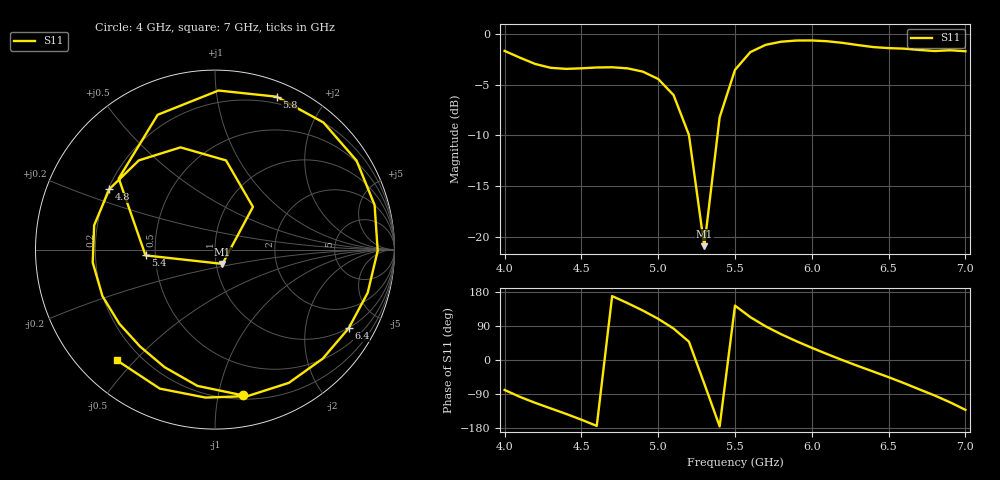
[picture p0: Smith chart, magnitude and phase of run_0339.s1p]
! Touchstone file exported from HFSS 2024.2.0
!  File:  C:/Users/wsak9/Desktop/Sim Fast/Widenad Patch/WP_AI_V1_sweep.aedt
!  Generated:  05:22:55 AM Oct 14, 2026
!  Design:  A1_model
!  Project:  WP_AI_V1_sweep
!  Setup:  Setup1
!  Solution:  Sweep
! Variables:
!  Air_gap = 3.35mm
!  Curve_Amp1 = 1.58
!  Curve_len1 = 1
!  Curve_pos = 11.685mm
!  Extra = 4.62mm
!  H_sub = 0.79mm
!  L_Patch = 19.37mm
!  L_Patch1 = 21.34mm
!  Sx = 1.36mm
!  Sy = 3.67mm
!  WS = 1.35mm
!  W_Patch = 22.39mm
!  W_Patch1 = 16.72mm
!Data is not renormalized
# GHz S MA
! Terminal data exported
! Port[1] = 1
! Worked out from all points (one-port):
!   31 points, 4 GHz to 7 GHz, reference per port
!   lowest |S11| = -20.9 dB at 5.3 GHz (marker M1), VSWR 1.20
!   |S11| at or under -10 dB: 5.201 GHz to 5.386 GHz (185.4 MHz wide, 3.5 % of centre)
!   S11 on the Smith chart (normalised r, x): 4 GHz: 0.23, -1.19; 4.8 GHz: 0.20, +0.26; 5.4 GHz: 0.44, -0.03; 5.8 GHz: 0.14, +1.47; 6.4 GHz: 0.98, -3.40; 7 GHz: 0.12, -0.45
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4  0.8273 -79.1
4.1  0.7657 -97.3
4.2  0.7127 -113.2
4.4  0.6743 -142.2
4.6  0.6851 -174.0
4.7  0.6868 168.6
4.8  0.6784 150.2
4.9  0.6535 130.5
5  0.6011 108.6
5.1  0.5007 83.0
5.2  0.3183 48.4
5.3  0.08979 -62.4
5.4  0.3885 -175.2
5.5  0.6669 143.5
5.6  0.8162 113.0
5.7  0.8865 88.7
5.8  0.9184 68.1
5.9  0.9309 49.5
6  0.9316 32.2
6.1  0.9233 15.6
6.2  0.9065 -0.4
6.3  0.8841 -15.8
6.4  0.8641 -30.5
6.6  0.8488 -61.0
6.7  0.8361 -77.5
6.8  0.8262 -93.7
6.9  0.8334 -111.6
7  0.824 -131.5
